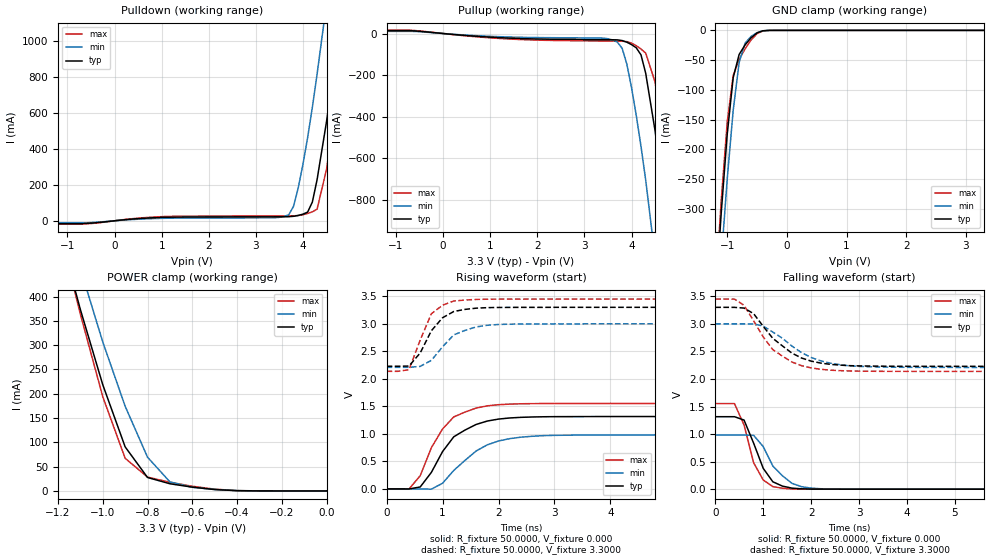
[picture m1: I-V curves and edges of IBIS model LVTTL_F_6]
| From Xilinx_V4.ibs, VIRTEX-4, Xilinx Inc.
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|   Model LVTTL_F_6
[Model]   LVTTL_F_6
Model_type   I/O
Polarity   Non-Inverting
Enable   Active-Low
Vinh = 2.0V
Vinl = 0.8V
Vmeas =   1.65V
Cref =  0.000F
Rref =   1.0000M
Vref =  0.000V
C_comp   8.0000pF   8.0000pF   8.0000pF
[Temperature Range]   25.0000   85.0000   0.000
[Voltage Range]   3.3000V   3.0000V   3.4500V
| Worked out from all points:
|   slope of the pulldown table from 0 to 0.495 V, typ, clamps not added: 41.8 ohm
|   slope of the pullup table from 0 to 0.495 V, typ, clamps not added: 50.9 ohm
|   GND clamp passes 1 mA (typ) near -0.41 V on its own axis
|   POWER clamp passes 1 mA (typ) near -0.42 V on its own axis
|   rising waveform, R_fixture 50.0000, V_fixture 0.000: 20-80 % time 601ps typ, 691ps min, 512ps max; typ from 0 V to 1.31 V
|   rising waveform, R_fixture 50.0000, V_fixture 3.3000: 20-80 % time 402ps typ, 480ps min, 318ps max; typ from 2.23 V to 3.3 V
|   falling waveform, R_fixture 50.0000, V_fixture 0.000: 20-80 % time 398ps typ, 482ps min, 348ps max; typ from 1.31 V to 0 V
|   falling waveform, R_fixture 50.0000, V_fixture 3.3000: 20-80 % time 770ps typ, 858ps min, 722ps max; typ from 3.3 V to 2.23 V
[Pulldown]
| voltage   I(typ)   I(min)   I(max)
-3.3V     -15.78mA   -11.99mA   -18.23mA
3.6V      22.22mA    23.58mA    27.28mA
3.7V      22.68mA    33.77mA    27.4mA
3.8V      24.91mA    80.59mA    27.66mA
4V        36.68mA    313.8mA    33.57mA
4.1V      48.41mA    463.3mA    40.68mA
4.2V      104.4mA    631.4mA    49.84mA
4.3V      228.3mA    814.5mA    64.47mA
4.5V      550.2mA    1.207A     285.2mA
4.7V      923.2mA    1.609A     651.2mA
4.9V      1.321A     2.011A     1.05A
6.6V      4.792A     5.444A     4.682A
[Pullup]
| voltage   I(typ)   I(min)   I(max)
-3.3V     13.85mA    10.4mA     15.99mA
-700mV    13.85mA    10.4mA     15.99mA
3.5V      -29.88mA   -25.18mA   -36.42mA
3.8V      -33.93mA   -71.32mA   -37.2mA
3.9V      -41.76mA   -148mA     -39.12mA
4V        -53.47mA   -261.6mA   -46.21mA
4.2V      -102.8mA   -543.7mA   -74.72mA
4.3V      -191.6mA   -706.4mA   -94.32mA
4.5V      -470mA     -1.081A    -234.7mA
4.7V      -814.5mA   -1.477A    -539.6mA
4.9V      -1.216A    -1.873A    -903.8mA
6.6V      -4.725A    -5.264A    -4.493A
[GND_clamp]
| voltage   I(typ)   I(min)   I(max)
-3.3V     -4.72A     -4.659A    -4.806A
-1.2V     -458.4mA   -535.2mA   -443.2mA
-1.1V     -307mA     -386mA     -286.5mA
-1V       -174.9mA   -250.6mA   -154.8mA
-900mV    -79.61mA   -134.7mA   -76.27mA
-800mV    -40.54mA   -53.98mA   -48.94mA
-700mV    -24.41mA   -21.32mA   -30.96mA
-600mV    -12.44mA   -10.24mA   -16.17mA
-500mV    -4.23mA    -3.859mA   -5.633mA
-400mV    -647uA     -794.1uA   -841.7uA
-300mV    -43.22uA   -80.71uA   -50.76uA
3.3V      335.4nA    78.77uA    333.2nA
[POWER_clamp]
| voltage   I(typ)   I(min)   I(max)
-3.3V     4.787A     4.834A     5.001A
-1.2V     543.3mA    626.5mA    548.4mA
-1.1V     373.1mA    457.2mA    363.5mA
-1V       218.5mA    306.5mA    193.9mA
-900mV    90.67mA    174.3mA    67.17mA
-800mV    27.68mA    69.38mA    28.46mA
-700mV    14.76mA    18.63mA    17.76mA
-600mV    7.79mA     7.541mA    9.625mA
-500mV    2.851mA    2.955mA    3.657mA
-400mV    489.6uA    668.4uA    637.8uA
0V        335.4nA    354.8nA    348.7nA
[Ramp]
| variable   typ   min   max
dV/dt_r   0.7890/0.5436n   0.5888/0.6205n   0.9318/0.4934n
dV/dt_f   0.6426/0.7139n   0.4746/0.8034n   0.7878/0.6545n
R_load = 50.0000
[Rising Waveform]
R_fixture = 50.0000
V_fixture = 0.000
| time   V(typ)   V(min)   V(max)
0s        0V         1.043uV    0V
400ps     -372.8uV   -238.5nV   -2.233mV
600ps     35.3mV     -1.218mV   239.7mV
800ps     300.9mV    -4.687mV   749.6mV
1ns       679.4mV    103.6mV    1.09V
1.2ns     947.3mV    335.9mV    1.308V
1.8ns     1.234V     801.4mV    1.51V
2.2ns     1.289V     913.6mV    1.541V
3ns       1.313V     973.3mV    1.552V
10ns      1.315V     981.4mV    1.553V
[Rising Waveform]
R_fixture = 50.0000
V_fixture = 3.3000
V_fixture_min = 3.0000
V_fixture_max = 3.4500
| time   V(typ)   V(min)   V(max)
0s        2.229V     2.209V     2.137V
200ps     2.229V     2.209V     2.137V
400ps     2.232V     2.209V     2.167V
600ps     2.471V     2.227V     2.705V
800ps     2.875V     2.336V     3.184V
1ns       3.111V     2.583V     3.339V
1.2ns     3.224V     2.799V     3.415V
1.6ns     3.284V     2.944V     3.443V
2.2ns     3.299V     2.994V     3.449V
10ns      3.3V       3V         3.45V
[Falling Waveform]
R_fixture = 50.0000
V_fixture = 0.000
| time   V(typ)   V(min)   V(max)
0s        1.315V     981.4mV    1.553V
400ps     1.315V     981.4mV    1.554V
600ps     1.254V     982.6mV    1.165V
800ps     834.8mV    977.2mV    478.7mV
1ns       377.8mV    772.3mV    167.5mV
1.2ns     134.5mV    420.3mV    46.89mV
1.6ns     18.65mV    105.4mV    3.858mV
1.8ns     6.157mV    44.65mV    893.4uV
2.2ns     554.5uV    7.501mV    38.03uV
10ns      -713.2nV   730.5nV    0V
[Falling Waveform]
R_fixture = 50.0000
V_fixture = 3.3000
V_fixture_min = 3.0000
V_fixture_max = 3.4500
| time   V(typ)   V(min)   V(max)
0s        3.3V       3V         3.45V
400ps     3.3V       3V         3.45V
600ps     3.286V     3V         3.337V
800ps     3.185V     2.999V     3.055V
1.2ns     2.737V     2.851V     2.532V
1.6ns     2.468V     2.596V     2.307V
2ns       2.324V     2.39V      2.2V
2.4ns     2.265V     2.287V     2.16V
3.2ns     2.235V     2.223V     2.14V
10ns      2.229V     2.209V     2.137V
